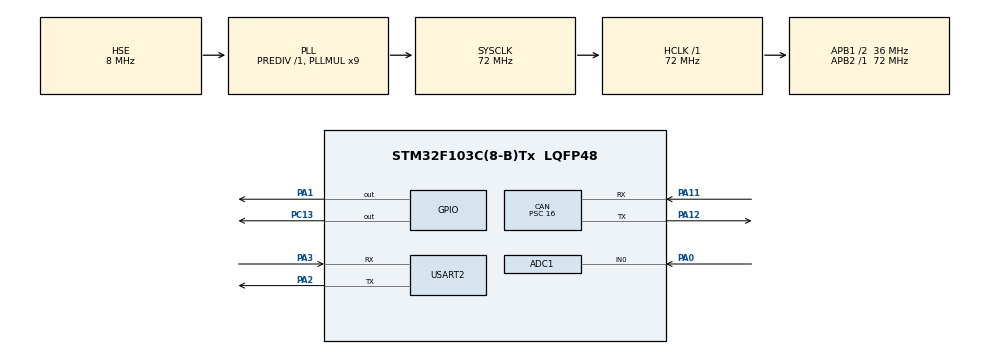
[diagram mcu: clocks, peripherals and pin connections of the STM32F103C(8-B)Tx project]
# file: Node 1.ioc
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ADC1.Channel-0\#ChannelRegularConversion=ADC_CHANNEL_0
ADC1.NbrOfConversionFlag=1
ADC1.Rank-0\#ChannelRegularConversion=1
ADC1.SamplingTime-0\#ChannelRegularConversion=ADC_SAMPLETIME_1CYCLE_5
ADC1.master=1
CAN.CalculateBaudRate=749999
CAN.CalculateTimeBit=1333
CAN.CalculateTimeQuantum=444.44444444444446
CAN.Prescaler=16
FREERTOS.Mutexes01=moistureMutex1,Dynamic,NULL
FREERTOS.Tasks01=sensorTask,0,128,StartSensorTask,Default,NULL,Dynamic,NULL,NULL;wateringTask,-2,128,StartWateringTask,Default,NULL,Dynamic,NULL,NULL;canTask,-2,128,StartCanTask,Default,NULL,Dynamic,NULL,NULL
Mcu.Family=STM32F1
Mcu.Name=STM32F103C(8-B)Tx
Mcu.Package=LQFP48
NVIC.PriorityGroup=NVIC_PRIORITYGROUP_4
NVIC.TIM1_UP_IRQn=true\:15\:0\:false\:false\:true\:false\:false\:true\:true
NVIC.TimeBase=TIM1_UP_IRQn
NVIC.TimeBaseIP=TIM1
PA0-WKUP.Signal=ADCx_IN0
PA1.Signal=GPIO_Output
PA11.Mode=CAN_Activate
PA11.Signal=CAN_RX
PA12.Mode=CAN_Activate
PA12.Signal=CAN_TX
PA13.Mode=Serial_Wire
PA13.Signal=SYS_JTMS-SWDIO
PA14.Mode=Serial_Wire
PA14.Signal=SYS_JTCK-SWCLK
PA2.Mode=Asynchronous
PA2.Signal=USART2_TX
PA3.Mode=Asynchronous
PA3.Signal=USART2_RX
PC13-TAMPER-RTC.Signal=GPIO_Output
PD0-OSC_IN.Mode=HSE-External-Oscillator
PD0-OSC_IN.Signal=RCC_OSC_IN
PD1-OSC_OUT.Mode=HSE-External-Oscillator
PD1-OSC_OUT.Signal=RCC_OSC_OUT
ProjectManager.HeapSize=0x200
ProjectManager.StackSize=0x400
ProjectManager.TargetToolchain=STM32CubeIDE
RCC.ADCPresc=RCC_ADCPCLK2_DIV6
RCC.AHBFreq_Value=72000000
RCC.APB1CLKDivider=RCC_HCLK_DIV2
RCC.APB1Freq_Value=36000000
RCC.APB1TimFreq_Value=72000000
RCC.APB2Freq_Value=72000000
RCC.APB2TimFreq_Value=72000000
RCC.EnbaleCSS=true
RCC.HCLKFreq_Value=72000000
RCC.PLLMUL=RCC_PLL_MUL9
RCC.PLLSourceVirtual=RCC_PLLSOURCE_HSE
RCC.SYSCLKFreq_VALUE=72000000
RCC.SYSCLKSource=RCC_SYSCLKSOURCE_PLLCLK
RCC.USBFreq_Value=72000000
SH.ADCx_IN0.0=ADC1_IN0,IN0
USART2.VirtualMode=VM_ASYNC
VP_FREERTOS_VS_CMSIS_V1.Mode=CMSIS_V1
VP_SYS_VS_tim1.Mode=TIM1
board=custom

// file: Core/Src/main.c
/* USER CODE BEGIN Header */
/**
  ******************************************************************************
  * @file           : main.c
  * @brief          : Main program body
  ******************************************************************************
  * @attention
  *
  * Copyright (c) 2024 STMicroelectronics.
  * All rights reserved.
  *
  * This software is licensed under terms that can be found in the LICENSE file
  * in the root directory of this software component.
  * If no LICENSE file comes with this software, it is provided AS-IS.
  *
  ******************************************************************************
  */
/* USER CODE END Header */
#include "main.h"
#include "cmsis_os.h"
#include <string.h>
#include <stdio.h>

ADC_HandleTypeDef hadc1;

CAN_HandleTypeDef hcan;

UART_HandleTypeDef huart2;

osThreadId moistureTaskHandle;
osThreadId wateringTaskHandle;
osThreadId canTaskHandle;

uint16_t moisture_level;

CAN_TxHeaderTypeDef TxHeader;

uint8_t TxData[2];

uint32_t TxMailbox;

void SystemClock_Config(void);
static void MX_GPIO_Init(void);
static void MX_ADC1_Init(void);
static void MX_CAN_Init(void);
static void MX_USART2_UART_Init(void);
void StartMoistureTask(const void *argument);
void StartWateringTask(const void *argument);
void StartCanTask(const void *argument);

int main(void)
{

  /* MCU Configuration--------------------------------------------------------*/

  /* Reset of all peripherals, Initializes the Flash interface and the Systick. */
  HAL_Init();

  /* Configure the system clock */
  SystemClock_Config();

  /* Initialize all configured peripherals */
  MX_GPIO_Init();
  MX_ADC1_Init();
  MX_CAN_Init();
  MX_USART2_UART_Init();

  /* Create the mutex(es) */
  /* definition and creation of moistureMutex1 */

  /* Create the thread(s) */
  /* definition and creation of sensorTask */
  /* Create the thread(s) */
  /* definition and creation of sensorTask */
  osThreadDef(moistureTask, StartMoistureTask, osPriorityNormal, 0, 256);
    moistureTaskHandle = osThreadCreate(osThread(moistureTask), NULL);

  /* definition and creation of wateringTask */
    osThreadDef(wateringTask, StartWateringTask, osPriorityAboveNormal, 0, 256);
      wateringTaskHandle = osThreadCreate(osThread(wateringTask), NULL);

  /* definition and creation of canTask */
      osThreadDef(canTask, StartCanTask, osPriorityBelowNormal, 0, 256);
        canTaskHandle = osThreadCreate(osThread(canTask), NULL);

  /* Start scheduler */
  osKernelStart();

  /* We should never get here as control is now taken by the scheduler */

  /* Infinite loop */
  while (1)
  {

  }
}

void SystemClock_Config(void)
{
  RCC_OscInitTypeDef RCC_OscInitStruct = {0};
  RCC_ClkInitTypeDef RCC_ClkInitStruct = {0};
  RCC_PeriphCLKInitTypeDef PeriphClkInit = {0};

  /** Initializes the RCC Oscillators according to the specified parameters
  * in the RCC_OscInitTypeDef structure.
  */
  RCC_OscInitStruct.OscillatorType = RCC_OSCILLATORTYPE_HSE;
  RCC_OscInitStruct.HSEState = RCC_HSE_ON;
  RCC_OscInitStruct.HSEPredivValue = RCC_HSE_PREDIV_DIV1;
  RCC_OscInitStruct.HSIState = RCC_HSI_ON;
  RCC_OscInitStruct.PLL.PLLState = RCC_PLL_ON;
  RCC_OscInitStruct.PLL.PLLSource = RCC_PLLSOURCE_HSE;
  RCC_OscInitStruct.PLL.PLLMUL = RCC_PLL_MUL9;
  if (HAL_RCC_OscConfig(&RCC_OscInitStruct) != HAL_OK)
  {
    Error_Handler();
  }

  /** Initializes the CPU, AHB and APB buses clocks
  */
  RCC_ClkInitStruct.ClockType = RCC_CLOCKTYPE_HCLK|RCC_CLOCKTYPE_SYSCLK
                              |RCC_CLOCKTYPE_PCLK1|RCC_CLOCKTYPE_PCLK2;
  RCC_ClkInitStruct.SYSCLKSource = RCC_SYSCLKSOURCE_PLLCLK;
  RCC_ClkInitStruct.AHBCLKDivider = RCC_SYSCLK_DIV1;
  RCC_ClkInitStruct.APB1CLKDivider = RCC_HCLK_DIV2;
  RCC_ClkInitStruct.APB2CLKDivider = RCC_HCLK_DIV1;

  if (HAL_RCC_ClockConfig(&RCC_ClkInitStruct, FLASH_LATENCY_2) != HAL_OK)
  {
    Error_Handler();
  }
  PeriphClkInit.PeriphClockSelection = RCC_PERIPHCLK_ADC;
  PeriphClkInit.AdcClockSelection = RCC_ADCPCLK2_DIV6;
  if (HAL_RCCEx_PeriphCLKConfig(&PeriphClkInit) != HAL_OK)
  {
    Error_Handler();
  }

  /** Enables the Clock Security System
  */
  HAL_RCC_EnableCSS();
}

static void MX_ADC1_Init(void)
{

  ADC_ChannelConfTypeDef sConfig = {0};

  /** Common config
  */
  hadc1.Instance = ADC1;
  hadc1.Init.ScanConvMode = ADC_SCAN_DISABLE;
  hadc1.Init.ContinuousConvMode = DISABLE;
  hadc1.Init.DiscontinuousConvMode = DISABLE;
  hadc1.Init.ExternalTrigConv = ADC_SOFTWARE_START;
  hadc1.Init.DataAlign = ADC_DATAALIGN_RIGHT;
  hadc1.Init.NbrOfConversion = 1;
  if (HAL_ADC_Init(&hadc1) != HAL_OK)
  {
    Error_Handler();
  }

  /** Configure Regular Channel
  */
  sConfig.Channel = ADC_CHANNEL_0;
  sConfig.Rank = ADC_REGULAR_RANK_1;
  sConfig.SamplingTime = ADC_SAMPLETIME_1CYCLE_5;
  if (HAL_ADC_ConfigChannel(&hadc1, &sConfig) != HAL_OK)
  {
    Error_Handler();
  }

}

static void MX_CAN_Init(void)
{

  hcan.Instance = CAN1;
  hcan.Init.Prescaler = 16;
  hcan.Init.Mode = CAN_MODE_NORMAL;
  hcan.Init.SyncJumpWidth = CAN_SJW_1TQ;
  hcan.Init.TimeSeg1 = CAN_BS1_1TQ;
  hcan.Init.TimeSeg2 = CAN_BS2_1TQ;
  hcan.Init.TimeTriggeredMode = DISABLE;
  hcan.Init.AutoBusOff = DISABLE;
  hcan.Init.AutoWakeUp = DISABLE;
  hcan.Init.AutoRetransmission = DISABLE;
  hcan.Init.ReceiveFifoLocked = DISABLE;
  hcan.Init.TransmitFifoPriority = DISABLE;
  if (HAL_CAN_Init(&hcan) != HAL_OK)
  {
    Error_Handler();
  }

}

static void MX_USART2_UART_Init(void)
{

  huart2.Instance = USART2;
  huart2.Init.BaudRate = 115200;
  huart2.Init.WordLength = UART_WORDLENGTH_8B;
  huart2.Init.StopBits = UART_STOPBITS_1;
  huart2.Init.Parity = UART_PARITY_NONE;
  huart2.Init.Mode = UART_MODE_TX_RX;
  huart2.Init.HwFlowCtl = UART_HWCONTROL_NONE;
  huart2.Init.OverSampling = UART_OVERSAMPLING_16;
  if (HAL_UART_Init(&huart2) != HAL_OK)
  {
    Error_Handler();
  }

}

static void MX_GPIO_Init(void)
{
  GPIO_InitTypeDef GPIO_InitStruct = {0};

  /* GPIO Ports Clock Enable */
  __HAL_RCC_GPIOC_CLK_ENABLE();
  __HAL_RCC_GPIOD_CLK_ENABLE();
  __HAL_RCC_GPIOA_CLK_ENABLE();

  /*Configure GPIO pin Output Level */
  HAL_GPIO_WritePin(GPIOC, GPIO_PIN_13, GPIO_PIN_RESET);

  /*Configure GPIO pin Output Level */
  HAL_GPIO_WritePin(GPIOA, GPIO_PIN_1, GPIO_PIN_RESET);

  /*Configure GPIO pin : PC13 */
  GPIO_InitStruct.Pin = GPIO_PIN_13;
  GPIO_InitStruct.Mode = GPIO_MODE_OUTPUT_PP;
  GPIO_InitStruct.Pull = GPIO_NOPULL;
  GPIO_InitStruct.Speed = GPIO_SPEED_FREQ_LOW;
  HAL_GPIO_Init(GPIOC, &GPIO_InitStruct);

  /*Configure GPIO pin : PA1 */
  GPIO_InitStruct.Pin = GPIO_PIN_1;
  GPIO_InitStruct.Mode = GPIO_MODE_OUTPUT_PP;
  GPIO_InitStruct.Pull = GPIO_NOPULL;
  GPIO_InitStruct.Speed = GPIO_SPEED_FREQ_LOW;
  HAL_GPIO_Init(GPIOA, &GPIO_InitStruct);

}

void StartMoistureTask(const void *argument)
{
  /* USER CODE BEGIN 5 */
  /* Infinite loop */
  while(1)
  {
	  char *str = "Moisture Task Started\n";
	  HAL_UART_Transmit(&huart2, (uint8_t*)str, strlen(str), HAL_MAX_DELAY);
	  HAL_ADC_Start(&hadc1);
	  str = "ADC Conversion Started\n";
	  HAL_UART_Transmit(&huart2, (uint8_t*)str, strlen(str), HAL_MAX_DELAY);
	  if(HAL_ADC_PollForConversion(&hadc1, HAL_MAX_DELAY) == HAL_OK){
		  moisture_level = HAL_ADC_GetValue(&hadc1);
	  }
	  else{
		  str = "ADC Conversion Failed\n";
		  HAL_UART_Transmit(&huart2, (uint8_t*)str, strlen(str), HAL_MAX_DELAY);
	  }
	  str = "Moisture Task Stopped\n";
	  HAL_UART_Transmit(&huart2, (uint8_t*)str, strlen(str), HAL_MAX_DELAY);
	  osDelay(2000);
  }
  /* USER CODE END 5 */
}

void StartWateringTask(const void *argument)
{
  /* USER CODE BEGIN 5 */
  /* Infinite loop */
  while(1)
  {
	  HAL_GPIO_WritePin(GPIOC, GPIO_PIN_13, GPIO_PIN_SET);
	  HAL_Delay(500);
	  HAL_GPIO_WritePin(GPIOC, GPIO_PIN_13, GPIO_PIN_RESET);
	  HAL_Delay(500);
	  char *str = "Watering Task Started\n";
	  HAL_UART_Transmit(&huart2, (uint8_t*)str, strlen(str), HAL_MAX_DELAY);
	  if(moisture_level < 1000){
		  HAL_GPIO_WritePin(GPIOA, GPIO_PIN_1, GPIO_PIN_SET);
		  str = "Watering Pump Started\n";
		  HAL_UART_Transmit(&huart2, (uint8_t*)str, strlen(str), HAL_MAX_DELAY);
	  }
	  else{
		  HAL_GPIO_WritePin(GPIOA, GPIO_PIN_1, GPIO_PIN_RESET);
		  str = "Watering Pump Stopped\n";
		  HAL_UART_Transmit(&huart2, (uint8_t*)str, strlen(str), HAL_MAX_DELAY);
	  }
	  str = "Watering Task Stopped\n";
	  HAL_UART_Transmit(&huart2, (uint8_t*)str, strlen(str), HAL_MAX_DELAY);
	  osDelay(2000);
  }
  /* USER CODE END 5 */
}

void StartCanTask(const void *argument)
{
  /* USER CODE BEGIN 5 */
  /* Infinite loop */
  TxHeader.DLC = 2;
  TxHeader.IDE = CAN_ID_STD;
  TxHeader.StdId = 0x05;
  TxHeader.RTR = CAN_RTR_DATA;

  while(1)
  {
	  char *str = "CAN Task Started\n";
	  HAL_UART_Transmit(&huart2, (uint8_t*)str, strlen(str), HAL_MAX_DELAY);
  	  TxData[0] = moisture_level & 0xFF;
  	  TxData[1] = (moisture_level >> 8) && 0xFF;
	  HAL_CAN_AddTxMessage(&hcan, &TxHeader, TxData, &TxMailbox);
	  osDelay(1000);
	  str = "CAN Task Stopped\n";
	  HAL_UART_Transmit(&huart2, (uint8_t*)str, strlen(str), HAL_MAX_DELAY);
  }
  /* USER CODE END 5 */
}

void HAL_TIM_PeriodElapsedCallback(TIM_HandleTypeDef *htim)
{
  if (htim->Instance == TIM1) {
    HAL_IncTick();
  }
}

void Error_Handler(void)
{
  __disable_irq();
  while (1)
  {
  }
}
